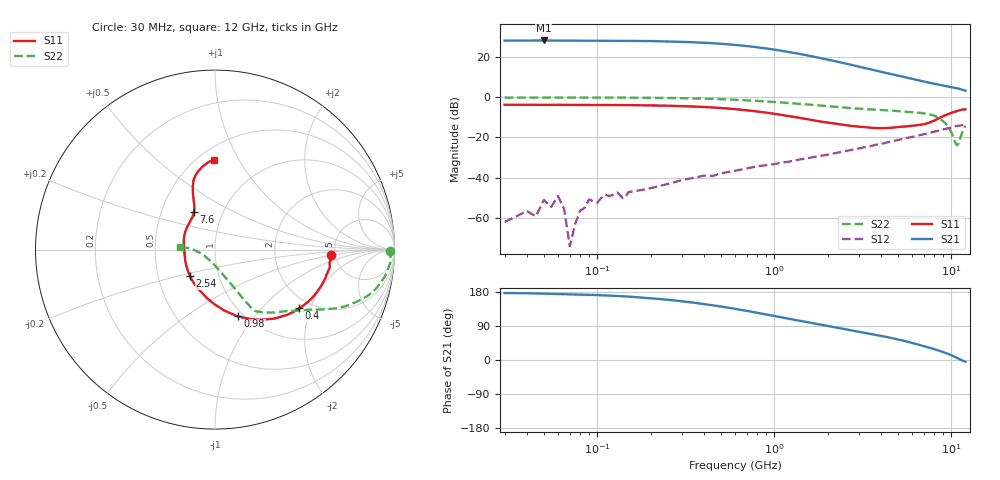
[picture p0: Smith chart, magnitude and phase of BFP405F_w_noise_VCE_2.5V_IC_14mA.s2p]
! Infineon Technologies  Discrete & RF Semiconductors
! BFP405F
! VCE =  2.5 V,  IC =  14 mA
! Common Emitter S-Parameters:  Nov 2015
# GHz  S  MA  R  50
!  f  S11  S21  S12  S22
! GHz  MAG  ANG  MAG  ANG  MAG  ANG  MAG  ANG
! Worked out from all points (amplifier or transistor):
!   239 points, 30 MHz to 12 GHz, reference 50 ohm
!   highest |S21| = 28.2 dB at 50 MHz (marker M1)
!   |S21| within 3 dB of that: start of sweep to 737.3 MHz
!   unconditionally stable (mu >= 1): start of sweep to 31.93 MHz; 68.08 MHz to 78.59 MHz; 1.979 GHz to end of sweep
!   at 300 MHz: K = 0.25, MSG = 34.4 dB, |S12| = -41.2 dB
!   at 1.88 GHz: K = 0.98, MSG = 24.1 dB, |S12| = -29.0 dB
!   at 12 GHz: K = 1.38, MAG = 4.8 dB, |S12| = -13.7 dB
!   lowest NFmin = 1.91 dB at 450 MHz
!   S11 on the Smith chart (normalised r, x): 30 MHz: 4.66, -0.46; 400 MHz: 1.73, -1.68; 980 MHz: 0.94, -0.83; 2.54 GHz: 0.73, -0.22; 7.6 GHz: 0.73, +0.32; 12 GHz: 0.60, +0.80
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0.03  0.6495 -2.5  25.45 176.7  0.0008 46.3  0.975 -0.5
0.045  0.6444 -4.1  25.57 175.6  0.0011 -34.3  0.9781 -1.4
0.05  0.6431 -4.8  25.67 175.0  0.0028 -66.4  0.977 -2.0
0.06  0.6473 -5.6  25.43 174.4  0.0035 38.5  0.9816 -1.9
0.065  0.6449 -5.9  25.41 173.8  0.0017 37.1  0.98 -2.0
0.07  0.6426 -6.3  25.4 173.1  0.0002 -118.1  0.9784 -2.1
0.085  0.6448 -7.6  25.31 172.2  0.0018 69.5  0.9789 -2.8
0.145  0.6363 -13.5  25.1 167.8  0.0034 85.0  0.9759 -5.0
0.24  0.6174 -21.9  24.32 159.8  0.0067 80.8  0.96 -8.6
0.3  0.6024 -27.0  23.76 155.0  0.0087 78.7  0.9463 -10.6
0.4  0.5723 -34.9  22.56 147.6  0.0113 81.9  0.9234 -13.6
0.6  0.5067 -49.4  19.9 134.9  0.0149 74.2  0.8656 -18.6
0.8  0.4427 -61.6  17.37 124.5  0.0192 72.2  0.8103 -22.3
0.98  0.3932 -70.9  15.4 116.9  0.0215 69.8  0.7674 -24.9
1.3  0.3214 -86.0  12.55 105.9  0.0268 69.9  0.7008 -28.3
1.64  0.2707 -100.2  10.33 97.4  0.032 68.5  0.6468 -31.2
2  0.2358 -114.7  8.639 89.9  0.0377 68.7  0.6008 -34.5
2.54  0.2018 -133.8  6.827 81.1  0.046 67.4  0.5494 -38.4
4.5  0.1743 174.2  3.809 58.9  0.0779 61.4  0.4674 -48.7
7.6  0.2388 119.5  2.26 31.9  0.131 49.0  0.3724 -58.3
10.8  0.4552 100.5  1.663 5.2  0.1934 30.4  0.0644 -135.0
12  0.5006 90.4  1.453 -4.6  0.2075 23.7  0.1968 175.5
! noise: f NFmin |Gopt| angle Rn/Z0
0.45  1.91  0.12  3  0.31
0.9  1.94  0.11  6  0.31
1.5  1.98  0.1  10  0.2
1.9  2.03  0.08  15  0.24
2.4  2.17  0.06  22  0.38
3  2.25  0.04  27  0.41
3.5  2.31  0.02  23  0.49
4.5  2.5  0.07  -88  0.15
5.5  2.76  0.15  -87  0.08
